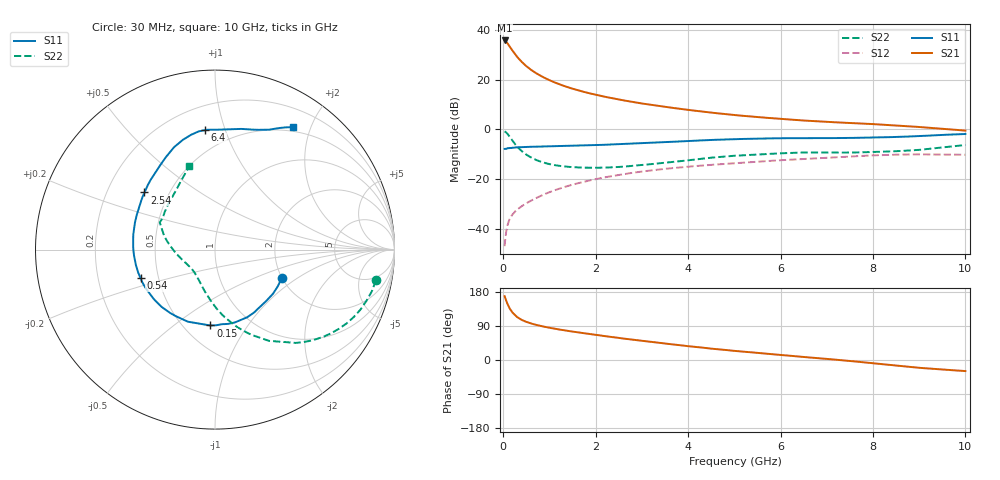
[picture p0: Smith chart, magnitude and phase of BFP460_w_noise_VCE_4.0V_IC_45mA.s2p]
! (c) 2016  Infineon Technologies AG, Munich
! Infineon Technologies  Discrete & RF Semiconductors
! BFP460
! VCE =  4.0 V,  IC =  45 mA
! Common Emitter S-Parameters:  Jan 2016
# GHz  S  MA  R  50
!  f  S11  S21  S12  S22
! GHz  MAG  ANG  MAG  ANG  MAG  ANG  MAG  ANG
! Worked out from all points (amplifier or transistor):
!   229 points, 30 MHz to 10 GHz, reference 50 ohm
!   highest |S21| = 35.9 dB at 30 MHz (marker M1)
!   |S21| within 3 dB of that: start of sweep to 160 MHz
!   unconditionally stable (mu >= 1): 1.267 GHz to 7.454 GHz
!   at 280 MHz: K = 0.60, MSG = 31.3 dB, |S12| = -32.7 dB
!   at 1.78 GHz: K = 1.03, MAG = 17.0 dB, |S12| = -21.0 dB
!   at 10 GHz: K = 0.97, MSG = 4.9 dB, |S12| = -10.2 dB
!   lowest NFmin = 1.72 dB at 3.5 GHz
!   S11 on the Smith chart (normalised r, x): 30 MHz: 2.00, -0.75; 150 MHz: 0.67, -0.69; 540 MHz: 0.40, -0.16; 2.54 GHz: 0.36, +0.31; 6.4 GHz: 0.36, +0.86; 10 GHz: 0.44, +1.74
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0.03  0.4047 -22.9  62.59 168.6  0.0044 85.8  0.912 -10.8
0.05  0.4061 -37.3  60.3 161.1  0.0068 77.9  0.8916 -18.5
0.07  0.4058 -52.3  58.07 154.5  0.0092 74.5  0.8598 -25.9
0.09  0.4174 -64.5  55.06 148.6  0.0114 70.9  0.8184 -32.7
0.12  0.4203 -80.0  50.32 140.7  0.0141 66.6  0.7523 -41.6
0.15  0.4236 -93.4  45.71 133.9  0.0163 63.5  0.6868 -49.2
0.2  0.4292 -110.6  39.07 125.2  0.0192 60.6  0.5907 -59.4
0.24  0.4304 -120.7  34.67 120.0  0.0213 59.2  0.5279 -65.5
0.3  0.4362 -132.8  29.33 113.4  0.024 58.5  0.4522 -73.7
0.4  0.4392 -146.6  23.1 105.8  0.0282 59.0  0.3659 -83.6
0.54  0.4442 -158.9  17.77 99.1  0.034 60.6  0.2941 -93.4
0.7  0.449 -169.0  13.86 93.0  0.0408 62.0  0.2446 -102.6
1  0.4561 178.4  9.86 85.1  0.0541 63.1  0.1994 -115.1
1.3  0.4632 169.1  7.64 78.8  0.0677 62.7  0.1802 -124.3
1.7  0.473 158.8  5.883 71.5  0.0857 60.9  0.1699 -134.1
2.54  0.506 141.0  3.961 57.6  0.1225 54.8  0.1759 -153.2
3.4  0.5479 126.4  2.948 45.0  0.1564 47.2  0.2083 -170.5
5.1  0.6402 105.4  1.916 23.1  0.2111 33.7  0.2974 163.8
6.4  0.6681 94.7  1.537 9.1  0.2499 23.8  0.3401 154.3
6.8  0.668 91.1  1.457 5.0  0.2616 21.0  0.3419 152.7
8.4  0.7005 72.6  1.219 -13.5  0.3083 6.5  0.3606 137.1
10  0.8095 57.5  0.947 -29.2  0.3084 -6.2  0.4849 107.2
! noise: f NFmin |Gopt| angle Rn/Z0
0.45  1.77  0.29  -170  0.13
0.9  1.79  0.27  -162  0.14
1.9  1.89  0.36  -141  0.15
3.5  1.72  0.59  -117  0.24
